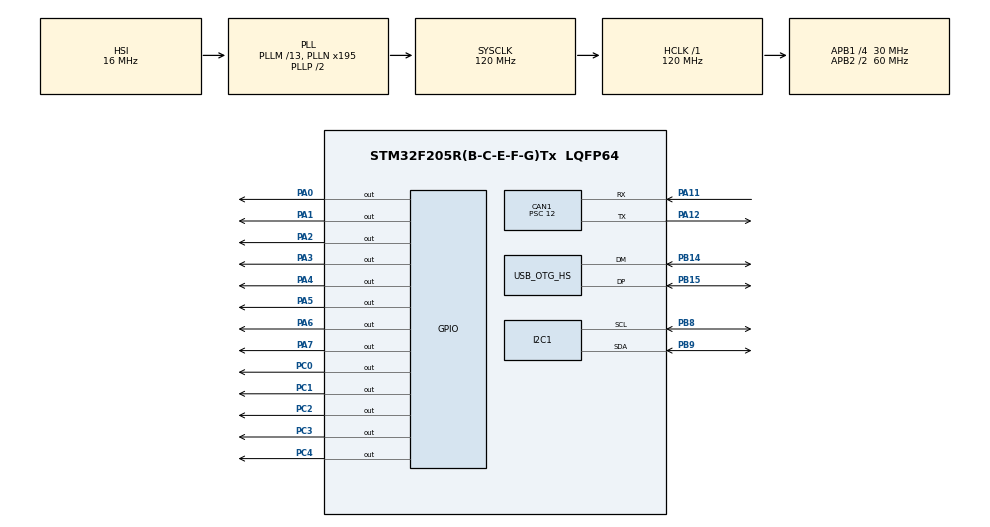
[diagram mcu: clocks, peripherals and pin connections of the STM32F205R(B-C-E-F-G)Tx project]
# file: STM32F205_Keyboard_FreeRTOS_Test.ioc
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CAN1.ABOM=ENABLE
CAN1.AWUM=ENABLE
CAN1.BS1=CAN_BS1_6TQ
CAN1.BS2=CAN_BS2_3TQ
CAN1.CalculateBaudRate=250000
CAN1.CalculateTimeBit=4000
CAN1.CalculateTimeQuantum=400.0
CAN1.NART=ENABLE
CAN1.Prescaler=12
CAN1.TTCM=DISABLE
CAN1.TXFP=ENABLE
FREERTOS.INCLUDE_vTaskDelayUntil=1
FREERTOS.Tasks01=defaultTask,0,128,StartDefaultTask,Default,NULL,Dynamic,NULL,NULL;vLedON,3,128,vLedON_Handler,Default,NULL,Dynamic,NULL,NULL;vKeyboardPollin,2,128,vKeyboardPolling_Handler,Default,NULL,Dynamic,NULL,NULL;vSendToCAN,-3,128,vSendToCAN_Handler,Default,NULL,Dynamic,NULL,NULL;vSendToUSB,-3,128,vSendToUSB_Handler,Default,NULL,Dynamic,NULL,NULL
Mcu.Family=STM32F2
Mcu.Name=STM32F205R(B-C-E-F-G)Tx
Mcu.Package=LQFP64
NVIC.CAN1_RX0_IRQn=true\:5\:0\:false\:false\:true\:true\:true\:true\:true
NVIC.OTG_HS_IRQn=true\:5\:0\:false\:false\:true\:true\:false\:true\:true
NVIC.PriorityGroup=NVIC_PRIORITYGROUP_4
NVIC.TIM1_UP_TIM10_IRQn=true\:15\:0\:false\:false\:true\:false\:false\:true\:true
NVIC.TIM6_DAC_IRQn=true\:5\:0\:false\:false\:true\:true\:true\:true\:true
NVIC.TimeBase=TIM1_UP_TIM10_IRQn
NVIC.TimeBaseIP=TIM1
PA0-WKUP.PinState=GPIO_PIN_SET
PA0-WKUP.Signal=GPIO_Output
PA1.PinState=GPIO_PIN_SET
PA1.Signal=GPIO_Output
PA11.Mode=CAN_Activate
PA11.Signal=CAN1_RX
PA12.Mode=CAN_Activate
PA12.Signal=CAN1_TX
PA13.Mode=Serial_Wire
PA13.Signal=SYS_JTMS-SWDIO
PA14.Mode=Serial_Wire
PA14.Signal=SYS_JTCK-SWCLK
PA2.PinState=GPIO_PIN_SET
PA2.Signal=GPIO_Output
PA3.PinState=GPIO_PIN_SET
PA3.Signal=GPIO_Output
PA4.PinState=GPIO_PIN_SET
PA4.Signal=GPIO_Output
PA5.PinState=GPIO_PIN_SET
PA5.Signal=GPIO_Output
PA6.PinState=GPIO_PIN_SET
PA6.Signal=GPIO_Output
PA7.PinState=GPIO_PIN_SET
PA7.Signal=GPIO_Output
PB14.Mode=Device_Only_FS
PB14.Signal=USB_OTG_HS_DM
PB15.Mode=Device_Only_FS
PB15.Signal=USB_OTG_HS_DP
PB8.Mode=I2C
PB8.Signal=I2C1_SCL
PB9.Mode=I2C
PB9.Signal=I2C1_SDA
PC0.PinState=GPIO_PIN_RESET
PC0.Signal=GPIO_Output
PC1.PinState=GPIO_PIN_RESET
PC1.Signal=GPIO_Output
PC2.PinState=GPIO_PIN_RESET
PC2.Signal=GPIO_Output
PC3.PinState=GPIO_PIN_RESET
PC3.Signal=GPIO_Output
PC4.PinState=GPIO_PIN_RESET
PC4.Signal=GPIO_Output
PH0-OSC_IN.Mode=HSE-External-Oscillator
PH0-OSC_IN.Signal=RCC_OSC_IN
PH1-OSC_OUT.Mode=HSE-External-Oscillator
PH1-OSC_OUT.Signal=RCC_OSC_OUT
ProjectManager.HeapSize=0x2000
ProjectManager.StackSize=0x4000
ProjectManager.TargetToolchain=MDK-ARM V5.32
RCC.48MHZClocksFreq_Value=48000000
RCC.AHBFreq_Value=120000000
RCC.APB1CLKDivider=RCC_HCLK_DIV4
RCC.APB1Freq_Value=30000000
RCC.APB1TimFreq_Value=60000000
RCC.APB2CLKDivider=RCC_HCLK_DIV2
RCC.APB2Freq_Value=60000000
RCC.APB2TimFreq_Value=120000000
RCC.CortexFreq_Value=120000000
RCC.HCLKFreq_Value=120000000
RCC.HSE_VALUE=12000000
RCC.HSI_VALUE=16000000
RCC.LSE_VALUE=32768
RCC.PLLM=13
RCC.PLLN=195
RCC.PLLQ=5
RCC.SYSCLKFreq_VALUE=120000000
RCC.SYSCLKSource=RCC_SYSCLKSOURCE_PLLCLK
RCC.VCOOutputFreq_Value=240000000
TIM6.Period=1
TIM6.Prescaler=480-1
USB_DEVICE.CLASS_NAME_HS=CDC
USB_DEVICE.USBD_MAX_STR_DESC_SIZ-CDC_HS=256
USB_DEVICE.VirtualMode-CDC_HS=Cdc
USB_DEVICE.VirtualModeHS=Cdc_HS
USB_OTG_HS.VirtualMode-Device_Only_FS=Device_Only_FS
VP_FREERTOS_VS_CMSIS_V1.Mode=CMSIS_V1
VP_SYS_VS_tim1.Mode=TIM1
VP_TIM6_VS_ClockSourceINT.Mode=Enable_Timer
VP_USB_DEVICE_VS_USB_DEVICE_CDC_HS.Mode=CDC_HS
board=custom

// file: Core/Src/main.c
/* USER CODE BEGIN Header */
/**
  ******************************************************************************
  * @file           : main.c
  * @brief          : Main program body
  ******************************************************************************
  * @attention
  *
  * Copyright (c) 2024 STMicroelectronics.
  * All rights reserved.
  *
  * This software is licensed under terms that can be found in the LICENSE file
  * in the root directory of this software component.
  * If no LICENSE file comes with this software, it is provided AS-IS.
  *
  ******************************************************************************
  */
/* USER CODE END Header */
#include "main.h"
#include "cmsis_os.h"
#include "can.h"
#include "i2c.h"
#include "tim.h"
#include "usb_device.h"
#include "gpio.h"

/* USER CODE BEGIN Includes */
#include "Keyboard.h"

#include "CanOpen_Callbacks.h"
#include "eeprom.h"
#include "storage.h"
#include "Keyboard_dict.h"
#include "print_ch.h"
#include "canfestival.h"
#include "ParamDataFlash.h"
/* USER CODE END Includes */

/* USER CODE BEGIN PV */
LED_Keyboard_t led_keyboard;
Keyboard_t keyboard;
/* USER CODE END PV */

void SystemClock_Config(void);
void MX_FREERTOS_Init(void);

int main(void)
{

  /* MCU Configuration--------------------------------------------------------*/

  /* Reset of all peripherals, Initializes the Flash interface and the Systick. */
  HAL_Init();

  /* Configure the system clock */
  SystemClock_Config();

  /* Initialize all configured peripherals */
  MX_GPIO_Init();
  MX_CAN1_Init();
  MX_I2C1_Init();
  MX_TIM6_Init();
  /* USER CODE BEGIN 2 */
	Storage_InitParams();
	CANOPEN_CALL_BACK_INIT();

	KeyboardInit();
	LedKeyboardInit(&led_keyboard, GPIOC, GPIOA);

  /* USER CODE END 2 */

  /* Call init function for freertos objects (in freertos.c) */
  MX_FREERTOS_Init();

  /* Start scheduler */
  osKernelStart();
  /* We should never get here as control is now taken by the scheduler */
  /* Infinite loop */
  while (1)
  {

  }
}

void SystemClock_Config(void)
{
  RCC_OscInitTypeDef RCC_OscInitStruct = {0};
  RCC_ClkInitTypeDef RCC_ClkInitStruct = {0};

  /** Initializes the RCC Oscillators according to the specified parameters
  * in the RCC_OscInitTypeDef structure.
  */
  RCC_OscInitStruct.OscillatorType = RCC_OSCILLATORTYPE_HSI;
  RCC_OscInitStruct.HSIState = RCC_HSI_ON;
  RCC_OscInitStruct.HSICalibrationValue = RCC_HSICALIBRATION_DEFAULT;
  RCC_OscInitStruct.PLL.PLLState = RCC_PLL_ON;
  RCC_OscInitStruct.PLL.PLLSource = RCC_PLLSOURCE_HSI;
  RCC_OscInitStruct.PLL.PLLM = 13;
  RCC_OscInitStruct.PLL.PLLN = 195;
  RCC_OscInitStruct.PLL.PLLP = RCC_PLLP_DIV2;
  RCC_OscInitStruct.PLL.PLLQ = 5;
  if (HAL_RCC_OscConfig(&RCC_OscInitStruct) != HAL_OK)
  {
    Error_Handler();
  }

  /** Initializes the CPU, AHB and APB buses clocks
  */
  RCC_ClkInitStruct.ClockType = RCC_CLOCKTYPE_HCLK|RCC_CLOCKTYPE_SYSCLK
                              |RCC_CLOCKTYPE_PCLK1|RCC_CLOCKTYPE_PCLK2;
  RCC_ClkInitStruct.SYSCLKSource = RCC_SYSCLKSOURCE_PLLCLK;
  RCC_ClkInitStruct.AHBCLKDivider = RCC_SYSCLK_DIV1;
  RCC_ClkInitStruct.APB1CLKDivider = RCC_HCLK_DIV4;
  RCC_ClkInitStruct.APB2CLKDivider = RCC_HCLK_DIV2;

  if (HAL_RCC_ClockConfig(&RCC_ClkInitStruct, FLASH_LATENCY_3) != HAL_OK)
  {
    Error_Handler();
  }
}

void HAL_TIM_PeriodElapsedCallback(TIM_HandleTypeDef *htim)
{
  if (htim->Instance == TIM1) {
    HAL_IncTick();
  }
}

void Error_Handler(void)
{
  __disable_irq();
  while (1)
  {
  }
}

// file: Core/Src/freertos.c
/* USER CODE BEGIN Header */
/**
  ******************************************************************************
  * File Name          : freertos.c
  * Description        : Code for freertos applications
  ******************************************************************************
  * @attention
  *
  * Copyright (c) 2024 STMicroelectronics.
  * All rights reserved.
  *
  * This software is licensed under terms that can be found in the LICENSE file
  * in the root directory of this software component.
  * If no LICENSE file comes with this software, it is provided AS-IS.
  *
  ******************************************************************************
  */
/* USER CODE END Header */

#include "FreeRTOS.h"
#include "task.h"
#include "main.h"
#include "cmsis_os.h"

/* USER CODE BEGIN Includes */
#include "Keyboard.h"
#include "Keyboard_dict.h"
#include "canfestival.h"

/* USER CODE END Includes */

/* USER CODE BEGIN Variables */
int cnt = 0;
extern LED_Keyboard_t led_keyboard;
extern Keyboard_t keyboard;

/* USER CODE END Variables */
osThreadId defaultTaskHandle;
osThreadId vLedONHandle;
osThreadId vKeyboardPollinHandle;
osThreadId vSendToCANHandle;
osThreadId vSendToUSBHandle;

void StartDefaultTask(void const * argument);
void vLedON_Handler(void const * argument);
void vKeyboardPolling_Handler(void const * argument);
void vSendToCAN_Handler(void const * argument);
void vSendToUSB_Handler(void const * argument);

extern void MX_USB_DEVICE_Init(void);
void MX_FREERTOS_Init(void); /* (MISRA C 2004 rule 8.1) */

/* GetIdleTaskMemory prototype (linked to static allocation support) */
void vApplicationGetIdleTaskMemory( StaticTask_t **ppxIdleTaskTCBBuffer, StackType_t **ppxIdleTaskStackBuffer, uint32_t *pulIdleTaskStackSize );

/* USER CODE BEGIN GET_IDLE_TASK_MEMORY */
static StaticTask_t xIdleTaskTCBBuffer;
static StackType_t xIdleStack[configMINIMAL_STACK_SIZE];

void vApplicationGetIdleTaskMemory( StaticTask_t **ppxIdleTaskTCBBuffer, StackType_t **ppxIdleTaskStackBuffer, uint32_t *pulIdleTaskStackSize )
{
  *ppxIdleTaskTCBBuffer = &xIdleTaskTCBBuffer;
  *ppxIdleTaskStackBuffer = &xIdleStack[0];
  *pulIdleTaskStackSize = configMINIMAL_STACK_SIZE;
  /* place for user code */
}
/* USER CODE END GET_IDLE_TASK_MEMORY */

void MX_FREERTOS_Init(void) {

  /* Create the thread(s) */
  /* definition and creation of defaultTask */
  osThreadDef(defaultTask, StartDefaultTask, osPriorityNormal, 0, 128);
  defaultTaskHandle = osThreadCreate(osThread(defaultTask), NULL);

  /* definition and creation of vLedON */
  osThreadDef(vLedON, vLedON_Handler, osPriorityRealtime, 0, 128);
  vLedONHandle = osThreadCreate(osThread(vLedON), NULL);

  /* definition and creation of vKeyboardPollin */
  osThreadDef(vKeyboardPollin, vKeyboardPolling_Handler, osPriorityHigh, 0, 128);
  vKeyboardPollinHandle = osThreadCreate(osThread(vKeyboardPollin), NULL);

  /* definition and creation of vSendToCAN */
  osThreadDef(vSendToCAN, vSendToCAN_Handler, osPriorityIdle, 0, 128);
  vSendToCANHandle = osThreadCreate(osThread(vSendToCAN), NULL);

  /* definition and creation of vSendToUSB */
  osThreadDef(vSendToUSB, vSendToUSB_Handler, osPriorityIdle, 0, 128);
  vSendToUSBHandle = osThreadCreate(osThread(vSendToUSB), NULL);

}

void StartDefaultTask(void const * argument)
{
  /* init code for USB_DEVICE */
  MX_USB_DEVICE_Init();
  for(;;)
  {
    osDelay(1);
  }
}

void vLedON_Handler(void const * argument)
{
  /* USER CODE BEGIN vLedON_Handler */
	static uint8_t i = 0;
  TickType_t xLastWakeTime;
	const TickType_t xFrequency = 1 / portTICK_PERIOD_MS;
	xLastWakeTime = xTaskGetTickCount();

  for(;;)
  {
		LedColOFF(&led_keyboard, led_keyboard.btn[i]);
		LedRowOFF(&led_keyboard, 1 << i);
		if(++i > 4)
			i = 0;
		LedRowON(&led_keyboard, 1 << i);

		if(led_keyboard.btn[i])
		{
			LedColON(&led_keyboard, led_keyboard.btn[i]);
		}

    vTaskDelayUntil(&xLastWakeTime, xFrequency);
  }
  /* USER CODE END vLedON_Handler */
}

void vKeyboardPolling_Handler(void const * argument)
{
  /* USER CODE BEGIN vKeyboardPolling_Handler */
  /* Infinite loop */
  for(;;)
  {
		//KeyboardPollingStateFlow(&keyboard);
    osDelay(1);
  }
  /* USER CODE END vKeyboardPolling_Handler */
}

void vSendToCAN_Handler(void const * argument)
{
  for(;;)
  {
    osDelay(1);
  }
}

void vSendToUSB_Handler(void const * argument)
{
  for(;;)
  {
    osDelay(1);
  }
}
